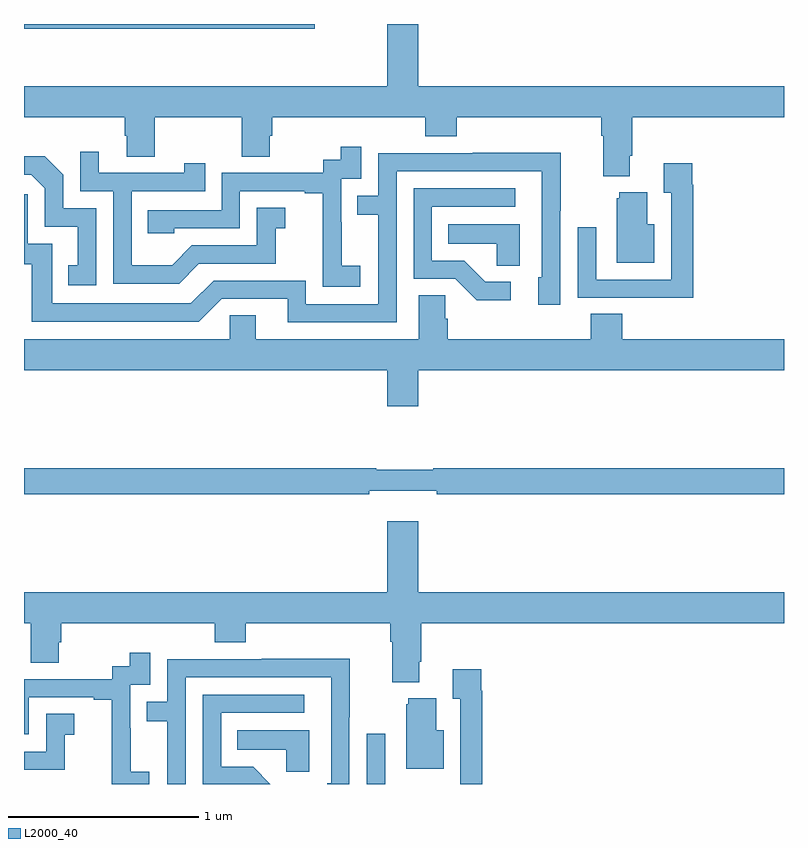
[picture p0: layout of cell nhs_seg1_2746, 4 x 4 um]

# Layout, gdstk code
import gdstk
lib = gdstk.Library(unit=1e-6, precision=1e-09)
def R(c, l, rs):  # rectangles x0, y0, x1, y1
    for r in rs: c.add(gdstk.rectangle(r[:2], r[2:], *l))
def P(c, l, *ps):  # polygons
    for p in ps: c.add(gdstk.Polygon(p, *l))
L2000_40 = (2000, 40)

nhs_seg1_2746 = lib.new_cell('nhs_seg1_2746')
R(nhs_seg1_2746, L2000_40, [(260.805,572.199,260.901,572.464), (259,576.174,260.531,576.199)])
P(nhs_seg1_2746, L2000_40, [(262.189,575.506),(262.202,575.506),(262.202,575.708),(263,575.708),(263,575.872),(261.076,575.872),(261.076,576.199),(260.912,576.199),(260.912,575.872),(259,575.872),(259,575.708),(259.529,575.708),(259.529,575.61),(259.541,575.61),(259.541,575.5),(259.689,575.5),(259.689,575.708),(260.146,575.708),(260.146,575.5),(260.293,575.5),(260.293,575.61),(260.306,575.61),(260.306,575.708),(261.113,575.708),(261.113,575.609),(261.278,575.609),(261.278,575.708),(262.037,575.708),(262.037,575.612),(262.049,575.612),(262.049,575.399),(262.189,575.399)],
  [(260.77,574.927),(260.672,574.927),(260.672,575.156),(260.67,575.156),(260.67,575.385),(260.775,575.385),(260.775,575.554),(260.666,575.554),(260.666,575.484),(260.574,575.484),(260.574,575.415),(260.04,575.415),(260.04,575.22),(259.651,575.22),(259.651,575.097),(259.791,575.097),(259.791,575.124),(260.136,575.124),(260.136,575.319),(260.477,575.319),(260.477,575.307),(260.573,575.307),(260.573,575.023),(260.572,575.023),(260.572,574.817),(260.77,574.817)],
  [(259.921,574.938),(260.325,574.938),(260.325,575.123),(260.374,575.123),(260.374,575.233),(260.226,575.233),(260.226,575.034),(259.884,575.034),(259.78,574.93),(259.566,574.93),(259.566,575.319),(259.955,575.319),(259.955,575.467),(259.844,575.467),(259.844,575.415),(259.393,575.415),(259.393,575.527),(259.296,575.527),(259.296,575.319),(259.47,575.319),(259.47,574.833),(259.816,574.833)],
  [(260.961,575.424),(261.726,575.424),(261.726,574.866),(261.707,574.866),(261.707,574.722),(261.822,574.722),(261.822,575.215),(261.825,575.215),(261.825,575.522),(261.361,575.522),(261.361,575.52),(260.865,575.52),(260.865,575.295),(260.755,575.295),(260.755,575.194),(260.865,575.194),(260.865,574.725),(260.484,574.725),(260.484,574.848),(259.998,574.848),(259.878,574.728),(259.149,574.728),(259.149,575.043),(259.02,575.043),(259.02,575.302),(259,575.302),(259,574.935),(259.041,574.935),(259.041,574.632),(259.92,574.632),(260.04,574.752),(260.387,574.752),(260.387,574.629),(260.961,574.629)],
  [(259.38,575.229),(259.206,575.229),(259.206,575.406),(259.108,575.504),(259,575.504),(259,575.406),(259.038,575.406),(259.11,575.334),(259.11,575.133),(259.283,575.133),(259.283,574.929),(259.234,574.929),(259.234,574.824),(259.38,574.824)],
  [(262.523,575.354),(262.516,575.354),(262.516,575.467),(262.367,575.467),(262.367,575.311),(262.407,575.311),(262.407,574.854),(262.011,574.854),(262.011,575.128),(261.915,575.128),(261.915,574.758),(262.231,574.758),(262.231,574.757),(262.523,574.757)],
  [(261.562,574.842),(261.427,574.842),(261.316,574.953),(261.147,574.953),(261.147,575.238),(261.586,575.238),(261.586,575.334),(261.051,575.334),(261.051,574.857),(261.27,574.857),(261.383,574.745),(261.562,574.745)],
  [(262.318,575.146),(262.279,575.146),(262.279,575.314),(262.133,575.314),(262.133,575.283),(262.121,575.283),(262.121,574.943),(262.318,574.943)],
  [(261.61,575.146),(261.232,575.146),(261.232,575.042),(261.489,575.042),(261.489,574.927),(261.61,574.927)],
  [(261.076,574.376),(263,574.376),(263,574.54),(262.148,574.54),(262.148,574.673),(261.983,574.673),(261.983,574.54),(261.23,574.54),(261.23,574.649),(261.216,574.649),(261.216,574.772),(261.077,574.772),(261.077,574.54),(260.221,574.54),(260.221,574.667),(260.082,574.667),(260.082,574.54),(259,574.54),(259,574.376),(260.912,574.376),(260.912,574.188),(261.076,574.188)],
  [(260.816,573.743),(261.172,573.743),(261.172,573.724),(263,573.724),(263,573.86),(261.155,573.86),(261.155,573.853),(260.855,573.853),(260.855,573.86),(259,573.86),(259,573.724),(260.816,573.724)],
  [(261.079,572.842),(261.092,572.842),(261.092,573.044),(263,573.044),(263,573.208),(261.076,573.208),(261.076,573.583),(260.912,573.583),(260.912,573.208),(259,573.208),(259,573.044),(259.036,573.044),(259.036,572.836),(259.183,572.836),(259.183,572.946),(259.196,572.946),(259.196,573.044),(260.003,573.044),(260.003,572.945),(260.168,572.945),(260.168,573.044),(260.927,573.044),(260.927,572.948),(260.939,572.948),(260.939,572.735),(261.079,572.735)],
  [(259.66,572.263),(259.562,572.263),(259.562,572.492),(259.56,572.492),(259.56,572.721),(259.665,572.721),(259.665,572.89),(259.557,572.89),(259.557,572.82),(259.464,572.82),(259.464,572.751),(259,572.751),(259,572.46),(259.026,572.46),(259.026,572.655),(259.367,572.655),(259.367,572.643),(259.463,572.643),(259.463,572.359),(259.462,572.359),(259.462,572.199),(259.66,572.199)],
  [(259.851,572.76),(260.616,572.76),(260.616,572.202),(260.597,572.202),(260.597,572.199),(260.712,572.199),(260.712,572.551),(260.715,572.551),(260.715,572.858),(260.251,572.858),(260.251,572.856),(259.755,572.856),(259.755,572.631),(259.645,572.631),(259.645,572.53),(259.755,572.53),(259.755,572.199),(259.851,572.199)],
  [(261.413,572.69),(261.406,572.69),(261.406,572.803),(261.257,572.803),(261.257,572.647),(261.297,572.647),(261.297,572.199),(261.413,572.199)],
  [(260.206,572.289),(260.037,572.289),(260.037,572.574),(260.476,572.574),(260.476,572.67),(259.941,572.67),(259.941,572.199),(260.296,572.199)],
  [(261.208,572.482),(261.169,572.482),(261.169,572.65),(261.023,572.65),(261.023,572.619),(261.011,572.619),(261.011,572.279),(261.208,572.279)],
  [(259.215,572.459),(259.264,572.459),(259.264,572.569),(259.116,572.569),(259.116,572.37),(259,572.37),(259,572.274),(259.215,572.274)],
  [(260.5,572.482),(260.122,572.482),(260.122,572.378),(260.379,572.378),(260.379,572.263),(260.5,572.263)])

lib.write_gds('nhs_seg1_2746.gds')
